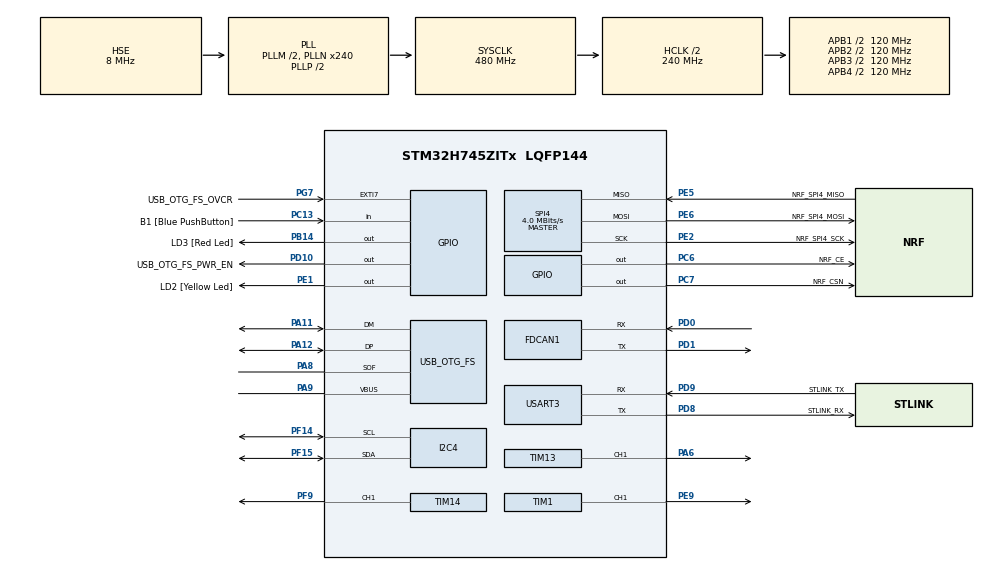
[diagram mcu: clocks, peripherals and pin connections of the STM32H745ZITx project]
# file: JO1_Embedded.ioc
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CortexM4.IPs=FATFS_M4\:I,FREERTOS_M4\:I,IWDG2\:I,RCC,WWDG2\:I,DMA,BDMA,MDMA,NVIC2\:I,USART3,DEBUG,USB_DEVICE_M4\:I,USB_HOST_M4\:I,PDM2PCM_M4\:I,PWR,RESMGR_UTILITY,SYS_M4\:I,CORTEX_M4\:I,OPENAMP_M4\:I,VREFBUF,GPIO,TIM3\:I
CortexM7.IPs=FATFS_M7\:I,FREERTOS_M7\:I,IWDG1\:I,RCC\:I,WWDG1\:I,DMA\:I,BDMA\:I,MDMA\:I,NVIC1\:I,SYS\:I,USART3\:I,USB_OTG_FS\:I,CORTEX_M7\:I,DEBUG\:I,USB_DEVICE_M7\:I,USB_HOST_M7\:I,PDM2PCM_M7\:I,PWR\:I,RESMGR_UTILITY\:I,OPENAMP_M7\:I,VREFBUF\:I,GPIO\:I,SPI4\:I,I2C4\:I,TIM13\:I,TIM14\:I,TIM1\:I,TIM2\:I,FDCAN1\:I
CortexM7.Pins=PC6,PC7
FDCAN1.CalculateBaudRateNominal=500000
FDCAN1.CalculateTimeBitNominal=2000
FDCAN1.CalculateTimeQuantumNominal=50.0
FDCAN1.NominalPrescaler=2
FDCAN1.NominalSyncJumpWidth=8
FDCAN1.NominalTimeSeg1=0x1F
FDCAN1.NominalTimeSeg2=8
FDCAN1.ProtocolException=ENABLE
FDCAN1.RxFifo0ElmtsNbr=1
FDCAN1.StdFiltersNbr=1
FDCAN1.TxFifoQueueElmtsNbr=1
FREERTOS_M4.Tasks01=defaultTask,24,128,StartDefaultTask,Default,NULL,Dynamic,NULL,NULL
FREERTOS_M4.configUSE_NEWLIB_REENTRANT=1
FREERTOS_M7.Tasks01=defaultTask,24,128,StartDefaultTask,Default,NULL,Dynamic,NULL,NULL
FREERTOS_M7.configUSE_NEWLIB_REENTRANT=1
I2C4.Timing=0x307075B1
Mcu.Family=STM32H7
Mcu.Name=STM32H745ZITx
Mcu.Package=LQFP144
NVIC1.PriorityGroup=NVIC_PRIORITYGROUP_4
NVIC1.TIM2_IRQn=true\:15\:0\:false\:false\:true\:false\:false\:true\:true
NVIC1.TimeBase=TIM2_IRQn
NVIC1.TimeBaseIP=TIM2
NVIC2.PriorityGroup=NVIC_PRIORITYGROUP_4
NVIC2.TIM3_IRQn=true\:15\:0\:false\:false\:true\:false\:false\:true\:true
NVIC2.TimeBase=TIM3_IRQn
NVIC2.TimeBaseIP=TIM3
PA11.Mode=Device_Only
PA11.PinAttribute=CortexM7
PA11.Signal=USB_OTG_FS_DM
PA12.Mode=Device_Only
PA12.PinAttribute=CortexM7
PA12.Signal=USB_OTG_FS_DP
PA6.PinAttribute=CortexM7
PA6.Signal=S_TIM13_CH1
PA8.Mode=Activate_SOF_FS
PA8.PinAttribute=CortexM7
PA8.Signal=USB_OTG_FS_SOF
PA9.Mode=Activate_VBUS
PA9.PinAttribute=CortexM7
PA9.Signal=USB_OTG_FS_VBUS
PB14.GPIO_Label=LD3 [Red Led]
PB14.PinAttribute=Free
PB14.Signal=GPIO_Output
PC13.GPIO_Label=B1 [Blue PushButton]
PC13.PinAttribute=Free
PC13.Signal=GPIO_Input
PC14-OSC32_IN\ (OSC32_IN).Mode=LSE-External-Oscillator
PC14-OSC32_IN\ (OSC32_IN).PinAttribute=CortexM7
PC14-OSC32_IN\ (OSC32_IN).Signal=RCC_OSC32_IN
PC15-OSC32_OUT\ (OSC32_OUT).Mode=LSE-External-Oscillator
PC15-OSC32_OUT\ (OSC32_OUT).PinAttribute=CortexM7
PC15-OSC32_OUT\ (OSC32_OUT).Signal=RCC_OSC32_OUT
PC6.GPIO_Label=NRF_CE
PC6.PinAttribute=CortexM7
PC6.Signal=GPIO_Output
PC7.GPIO_Label=NRF_CSN
PC7.PinAttribute=CortexM7
PC7.Signal=GPIO_Output
PD0.GPIO_Speed=GPIO_SPEED_FREQ_VERY_HIGH
PD0.Mode=FDCAN_Activate
PD0.PinAttribute=CortexM7
PD0.Signal=FDCAN1_RX
PD1.GPIO_PuPd=GPIO_PULLUP
PD1.GPIO_Speed=GPIO_SPEED_FREQ_VERY_HIGH
PD1.Mode=FDCAN_Activate
PD1.PinAttribute=CortexM7
PD1.Signal=FDCAN1_TX
PD10.GPIO_Label=USB_OTG_FS_PWR_EN
PD10.PinAttribute=Free
PD10.Signal=GPIO_Output
PD8.GPIO_Label=STLINK_RX
PD8.Mode=Asynchronous
PD8.PinAttribute=CortexM7
PD8.Signal=USART3_TX
PD9.GPIO_Label=STLINK_TX
PD9.Mode=Asynchronous
PD9.PinAttribute=CortexM7
PD9.Signal=USART3_RX
PE1.GPIO_Label=LD2 [Yellow Led]
PE1.PinAttribute=Free
PE1.Signal=GPIO_Output
PE2.GPIO_Label=NRF_SPI4_SCK
PE2.Mode=Full_Duplex_Master
PE2.PinAttribute=CortexM7
PE2.Signal=SPI4_SCK
PE5.GPIO_Label=NRF_SPI4_MISO
PE5.Mode=Full_Duplex_Master
PE5.PinAttribute=CortexM7
PE5.Signal=SPI4_MISO
PE6.GPIO_Label=NRF_SPI4_MOSI
PE6.Mode=Full_Duplex_Master
PE6.PinAttribute=CortexM7
PE6.Signal=SPI4_MOSI
PE9.PinAttribute=CortexM7
PE9.Signal=S_TIM1_CH1
PF14.Mode=I2C
PF14.PinAttribute=CortexM7
PF14.Signal=I2C4_SCL
PF15.Mode=I2C
PF15.PinAttribute=CortexM7
PF15.Signal=I2C4_SDA
PF9.PinAttribute=CortexM7
PF9.Signal=S_TIM14_CH1
PG7.GPIO_Label=USB_OTG_FS_OVCR
PG7.PinAttribute=Free
PG7.Signal=GPXTI7
PH0-OSC_IN\ (PH0).Mode=HSE-External-Clock-Source
PH0-OSC_IN\ (PH0).PinAttribute=CortexM7
PH0-OSC_IN\ (PH0).Signal=RCC_OSC_IN
PH1-OSC_OUT\ (PH1).PinAttribute=CortexM7
PH1-OSC_OUT\ (PH1).Signal=RCC_OSC_OUT
ProjectManager.HeapSize=M4-0x200,M7-0x200
ProjectManager.StackSize=M4-0x400,M7-0x400
ProjectManager.TargetToolchain=STM32CubeIDE
RCC.ADCFreq_Value=9000000
RCC.APB1Freq_Value=120000000
RCC.APB2Freq_Value=120000000
RCC.APB3Freq_Value=120000000
RCC.APB4Freq_Value=120000000
RCC.CortexFreq_Value=480000000
RCC.D1PPRE=RCC_APB3_DIV2
RCC.D2PPRE1=RCC_APB1_DIV2
RCC.D2PPRE2=RCC_APB2_DIV2
RCC.D3PPRE=RCC_APB4_DIV2
RCC.DIVM1=2
RCC.DIVM2=4
RCC.DIVN1=240
RCC.DIVN2=9
RCC.DIVQ1=24
RCC.HCLKFreq_Value=240000000
RCC.HPRE=RCC_HCLK_DIV2
RCC.HSE_VALUE=8000000
RCC.PLL2FRACN=0
RCC.PLL3FRACN=0
RCC.PLLFRACN=0
RCC.SYSCLKFreq_VALUE=480000000
RCC.SYSCLKSource=RCC_SYSCLKSOURCE_PLLCLK
RCC.Spi45ClockSelection=RCC_SPI45CLKSOURCE_HSI
RCC.SupplySource=PWR_DIRECT_SMPS_SUPPLY
RCC.USBFreq_Value=40000000
SH.S_TIM13_CH1.0=TIM13_CH1,PWM Generation1 CH1
SH.S_TIM14_CH1.0=TIM14_CH1,PWM Generation1 CH1
SH.S_TIM1_CH1.0=TIM1_CH1,PWM Generation1 CH1
SPI4.BaudRatePrescaler=SPI_BAUDRATEPRESCALER_16
SPI4.CalculateBaudRate=4.0 MBits/s
SPI4.DataSize=SPI_DATASIZE_8BIT
SPI4.Direction=SPI_DIRECTION_2LINES
SPI4.Mode=SPI_MODE_MASTER
SPI4.VirtualType=VM_MASTER
TIM1.Channel-PWM\ Generation1\ CH1=TIM_CHANNEL_1
TIM1.Period=1000
TIM1.Pulse-PWM\ Generation1\ CH1=500
TIM13.Channel=TIM_CHANNEL_1
TIM13.Period=63999
TIM13.Prescaler=75
TIM14.Channel=TIM_CHANNEL_1
TIM14.Period=63999
TIM14.Prescaler=75
USART3.VirtualMode-Asynchronous=VM_ASYNC
USB_OTG_FS.VirtualMode=Device_Only
VP_FREERTOS_M4_VS_CMSIS_V2.Mode=CMSIS_V2
VP_FREERTOS_M7_VS_CMSIS_V2.Mode=CMSIS_V2
VP_SYS_M4_VS_tim3.Mode=TIM3
VP_SYS_VS_tim2.Mode=TIM2
VP_TIM13_VS_ClockSourceINT.Mode=Enable_Timer
VP_TIM14_VS_ClockSourceINT.Mode=Enable_Timer
VP_TIM1_VS_ClockSourceINT.Mode=Internal
board=NUCLEO-H745ZI-Q

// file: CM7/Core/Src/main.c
/* USER CODE BEGIN Header */
/**
  ******************************************************************************
  * @file           : main.c
  * @brief          : Main program body
  ******************************************************************************
  * @attention
  *
  * Copyright (c) 2024 STMicroelectronics.
  * All rights reserved.
  *
  * This software is licensed under terms that can be found in the LICENSE file
  * in the root directory of this software component.
  * If no LICENSE file comes with this software, it is provided AS-IS.
  *
  ******************************************************************************
  */
/* USER CODE END Header */
#include "main.h"
#include "cmsis_os.h"

/* USER CODE BEGIN Includes */

// UART interface

#include "printf.h"

// Wireless communication with John Deere GPS

#include "nRF24.h"

// IMU sensor for angle calculation

#include "imu.h"
#include "AngleCalculation.h"
#include "complementaryFilter.h"

// CAN for reading encoder from extern MCU

#include "CANRoutines.h"

// Encoder reading for distance calculation

#include "encoder.h"

// Tractor steering and movement

#include "servo.h"
#include "motor.h"

// P Controller

#include "PController.h"

// Matlab Controller

#include "controller/robocar_c.h"

// Coordinate Fusion System

#include "fusion.h"
#include "kalman_pos.h"

// Buzzer for waypoint alert

#include "jingle.h"

/* USER CODE END Includes */

/* USER CODE BEGIN PD */

#ifndef HSEM_ID_0
#define HSEM_ID_0 (0U) /* HW semaphore 0*/
#endif
/* USER CODE END PD */

FDCAN_HandleTypeDef hfdcan1;

I2C_HandleTypeDef hi2c4;

SPI_HandleTypeDef hspi4;

TIM_HandleTypeDef htim1;
TIM_HandleTypeDef htim13;
TIM_HandleTypeDef htim14;

UART_HandleTypeDef huart3;

PCD_HandleTypeDef hpcd_USB_OTG_FS;

/* Definitions for defaultTask */
osThreadId_t defaultTaskHandle;
const osThreadAttr_t defaultTask_attributes = {
  .name = "defaultTask",
  .stack_size = 128 * 16,
  .priority = (osPriority_t) osPriorityNormal,
};
/* USER CODE BEGIN PV */

uint32_t currentTime;
float IMU_angle;
float filtered_angle;

uint16_t encoder_data;
float encoder_distance;

float filtered_distance;

typedef struct {
    uint16_t x;
    uint16_t y;
} Waypoint;

Waypoint waypoints[] =
{
    {0, 195},
    {100, 100},
	{50, 50}
};

size_t waypoint_count = sizeof(waypoints) / sizeof(waypoints[0]);

uint8_t actual_waypoint;

FDCAN_FilterTypeDef sFilterConfig;
FDCAN_RxHeaderTypeDef RxHeader;

/* USER CODE END PV */

void SystemClock_Config(void);
static void MX_GPIO_Init(void);
static void MX_USART3_UART_Init(void);
static void MX_USB_OTG_FS_PCD_Init(void);
static void MX_SPI4_Init(void);
static void MX_I2C4_Init(void);
static void MX_TIM13_Init(void);
static void MX_TIM14_Init(void);
static void MX_TIM1_Init(void);
static void MX_FDCAN1_Init(void);
void StartDefaultTask(void *argument);

int main(void)
{
/* USER CODE BEGIN Boot_Mode_Sequence_0 */
  int32_t timeout;
/* USER CODE END Boot_Mode_Sequence_0 */

/* USER CODE BEGIN Boot_Mode_Sequence_1 */
  /* Wait until CPU2 boots and enters in stop mode or timeout*/
  timeout = 0xFFFF;
  while((__HAL_RCC_GET_FLAG(RCC_FLAG_D2CKRDY) != RESET) && (timeout-- > 0));
  if ( timeout < 0 )
  {
  Error_Handler();
  }
/* USER CODE END Boot_Mode_Sequence_1 */
  /* MCU Configuration--------------------------------------------------------*/

  /* Reset of all peripherals, Initializes the Flash interface and the Systick. */
  HAL_Init();

  /* Configure the system clock */
  SystemClock_Config();
/* USER CODE BEGIN Boot_Mode_Sequence_2 */
/* When system initialization is finished, Cortex-M7 will release Cortex-M4 by means of
HSEM notification */
/*HW semaphore Clock enable*/
__HAL_RCC_HSEM_CLK_ENABLE();
/*Take HSEM */
HAL_HSEM_FastTake(HSEM_ID_0);
/*Release HSEM in order to notify the CPU2(CM4)*/
HAL_HSEM_Release(HSEM_ID_0,0);
/* wait until CPU2 wakes up from stop mode */
timeout = 0xFFFF;
while((__HAL_RCC_GET_FLAG(RCC_FLAG_D2CKRDY) == RESET) && (timeout-- > 0));
if ( timeout < 0 )
{
Error_Handler();
}
/* USER CODE END Boot_Mode_Sequence_2 */

  /* Initialize all configured peripherals */
  MX_GPIO_Init();
  MX_USART3_UART_Init();
  MX_USB_OTG_FS_PCD_Init();
  MX_SPI4_Init();
  MX_I2C4_Init();
  MX_TIM13_Init();
  MX_TIM14_Init();
  MX_TIM1_Init();
  MX_FDCAN1_Init();
  /* USER CODE BEGIN 2 */

  NRF24_SetupRoutine(&hspi4, &huart3);
  IMU_SetupRoutine(&hi2c4);

  /* USER CODE END 2 */

  /* Init scheduler */
  osKernelInitialize();

  /* Create the thread(s) */
  /* creation of defaultTask */
  defaultTaskHandle = osThreadNew(StartDefaultTask, NULL, &defaultTask_attributes);

  /* Start scheduler */
  osKernelStart();

  /* We should never get here as control is now taken by the scheduler */
  /* Infinite loop */
  while (1)
  {

  }
}

void SystemClock_Config(void)
{
  RCC_OscInitTypeDef RCC_OscInitStruct = {0};
  RCC_ClkInitTypeDef RCC_ClkInitStruct = {0};

  /** Supply configuration update enable
  */
  HAL_PWREx_ConfigSupply(PWR_DIRECT_SMPS_SUPPLY);

  /** Configure the main internal regulator output voltage
  */
  __HAL_PWR_VOLTAGESCALING_CONFIG(PWR_REGULATOR_VOLTAGE_SCALE0);

  while(!__HAL_PWR_GET_FLAG(PWR_FLAG_VOSRDY)) {}

  /** Initializes the RCC Oscillators according to the specified parameters
  * in the RCC_OscInitTypeDef structure.
  */
  RCC_OscInitStruct.OscillatorType = RCC_OSCILLATORTYPE_HSI|RCC_OSCILLATORTYPE_HSE;
  RCC_OscInitStruct.HSEState = RCC_HSE_BYPASS;
  RCC_OscInitStruct.HSIState = RCC_HSI_DIV1;
  RCC_OscInitStruct.HSICalibrationValue = RCC_HSICALIBRATION_DEFAULT;
  RCC_OscInitStruct.PLL.PLLState = RCC_PLL_ON;
  RCC_OscInitStruct.PLL.PLLSource = RCC_PLLSOURCE_HSE;
  RCC_OscInitStruct.PLL.PLLM = 2;
  RCC_OscInitStruct.PLL.PLLN = 240;
  RCC_OscInitStruct.PLL.PLLP = 2;
  RCC_OscInitStruct.PLL.PLLQ = 24;
  RCC_OscInitStruct.PLL.PLLR = 2;
  RCC_OscInitStruct.PLL.PLLRGE = RCC_PLL1VCIRANGE_2;
  RCC_OscInitStruct.PLL.PLLVCOSEL = RCC_PLL1VCOWIDE;
  RCC_OscInitStruct.PLL.PLLFRACN = 0;
  if (HAL_RCC_OscConfig(&RCC_OscInitStruct) != HAL_OK)
  {
    Error_Handler();
  }

  /** Initializes the CPU, AHB and APB buses clocks
  */
  RCC_ClkInitStruct.ClockType = RCC_CLOCKTYPE_HCLK|RCC_CLOCKTYPE_SYSCLK
                              |RCC_CLOCKTYPE_PCLK1|RCC_CLOCKTYPE_PCLK2
                              |RCC_CLOCKTYPE_D3PCLK1|RCC_CLOCKTYPE_D1PCLK1;
  RCC_ClkInitStruct.SYSCLKSource = RCC_SYSCLKSOURCE_PLLCLK;
  RCC_ClkInitStruct.SYSCLKDivider = RCC_SYSCLK_DIV1;
  RCC_ClkInitStruct.AHBCLKDivider = RCC_HCLK_DIV2;
  RCC_ClkInitStruct.APB3CLKDivider = RCC_APB3_DIV2;
  RCC_ClkInitStruct.APB1CLKDivider = RCC_APB1_DIV2;
  RCC_ClkInitStruct.APB2CLKDivider = RCC_APB2_DIV2;
  RCC_ClkInitStruct.APB4CLKDivider = RCC_APB4_DIV2;

  if (HAL_RCC_ClockConfig(&RCC_ClkInitStruct, FLASH_LATENCY_4) != HAL_OK)
  {
    Error_Handler();
  }
}

static void MX_FDCAN1_Init(void)
{

  hfdcan1.Instance = FDCAN1;
  hfdcan1.Init.FrameFormat = FDCAN_FRAME_CLASSIC;
  hfdcan1.Init.Mode = FDCAN_MODE_NORMAL;
  hfdcan1.Init.AutoRetransmission = DISABLE;
  hfdcan1.Init.TransmitPause = DISABLE;
  hfdcan1.Init.ProtocolException = ENABLE;
  hfdcan1.Init.NominalPrescaler = 2;
  hfdcan1.Init.NominalSyncJumpWidth = 8;
  hfdcan1.Init.NominalTimeSeg1 = 0x1F;
  hfdcan1.Init.NominalTimeSeg2 = 8;
  hfdcan1.Init.DataPrescaler = 1;
  hfdcan1.Init.DataSyncJumpWidth = 1;
  hfdcan1.Init.DataTimeSeg1 = 1;
  hfdcan1.Init.DataTimeSeg2 = 1;
  hfdcan1.Init.MessageRAMOffset = 0;
  hfdcan1.Init.StdFiltersNbr = 1;
  hfdcan1.Init.ExtFiltersNbr = 0;
  hfdcan1.Init.RxFifo0ElmtsNbr = 1;
  hfdcan1.Init.RxFifo0ElmtSize = FDCAN_DATA_BYTES_8;
  hfdcan1.Init.RxFifo1ElmtsNbr = 0;
  hfdcan1.Init.RxFifo1ElmtSize = FDCAN_DATA_BYTES_8;
  hfdcan1.Init.RxBuffersNbr = 0;
  hfdcan1.Init.RxBufferSize = FDCAN_DATA_BYTES_8;
  hfdcan1.Init.TxEventsNbr = 0;
  hfdcan1.Init.TxBuffersNbr = 0;
  hfdcan1.Init.TxFifoQueueElmtsNbr = 1;
  hfdcan1.Init.TxFifoQueueMode = FDCAN_TX_FIFO_OPERATION;
  hfdcan1.Init.TxElmtSize = FDCAN_DATA_BYTES_8;
  if (HAL_FDCAN_Init(&hfdcan1) != HAL_OK)
  {
    Error_Handler();
  }
  /* USER CODE BEGIN FDCAN1_Init 2 */

  // Configure Rx filter

  sFilterConfig.IdType = FDCAN_STANDARD_ID;
  sFilterConfig.FilterIndex = 0;
  sFilterConfig.FilterType = FDCAN_FILTER_MASK;
  sFilterConfig.FilterConfig = FDCAN_FILTER_TO_RXFIFO0;
  sFilterConfig.FilterID1 = 0x000;
  sFilterConfig.FilterID2 = 0x000;

  // Configure global filter to reject all non-matching frames

  HAL_FDCAN_ConfigGlobalFilter(&hfdcan1, FDCAN_REJECT, FDCAN_REJECT, FDCAN_REJECT_REMOTE, FDCAN_REJECT_REMOTE);

  if (HAL_FDCAN_ConfigFilter(&hfdcan1, &sFilterConfig) != HAL_OK)
  {
	  Error_Handler();
  }

  // Start the FDCAN

  if (HAL_FDCAN_Start(&hfdcan1) != HAL_OK) {}

  if (HAL_FDCAN_ActivateNotification(&hfdcan1, FDCAN_IT_RX_FIFO0_NEW_MESSAGE, 0) != HAL_OK) {}

  printf("CAN BUS ACTIVATED\r\n");

  /* USER CODE END FDCAN1_Init 2 */

}

static void MX_I2C4_Init(void)
{

  hi2c4.Instance = I2C4;
  hi2c4.Init.Timing = 0x307075B1;
  hi2c4.Init.OwnAddress1 = 0;
  hi2c4.Init.AddressingMode = I2C_ADDRESSINGMODE_7BIT;
  hi2c4.Init.DualAddressMode = I2C_DUALADDRESS_DISABLE;
  hi2c4.Init.OwnAddress2 = 0;
  hi2c4.Init.OwnAddress2Masks = I2C_OA2_NOMASK;
  hi2c4.Init.GeneralCallMode = I2C_GENERALCALL_DISABLE;
  hi2c4.Init.NoStretchMode = I2C_NOSTRETCH_DISABLE;
  if (HAL_I2C_Init(&hi2c4) != HAL_OK)
  {
    Error_Handler();
  }

  /** Configure Analogue filter
  */
  if (HAL_I2CEx_ConfigAnalogFilter(&hi2c4, I2C_ANALOGFILTER_ENABLE) != HAL_OK)
  {
    Error_Handler();
  }

  /** Configure Digital filter
  */
  if (HAL_I2CEx_ConfigDigitalFilter(&hi2c4, 0) != HAL_OK)
  {
    Error_Handler();
  }

}

static void MX_SPI4_Init(void)
{

  /* SPI4 parameter configuration*/
  hspi4.Instance = SPI4;
  hspi4.Init.Mode = SPI_MODE_MASTER;
  hspi4.Init.Direction = SPI_DIRECTION_2LINES;
  hspi4.Init.DataSize = SPI_DATASIZE_8BIT;
  hspi4.Init.CLKPolarity = SPI_POLARITY_LOW;
  hspi4.Init.CLKPhase = SPI_PHASE_1EDGE;
  hspi4.Init.NSS = SPI_NSS_SOFT;
  hspi4.Init.BaudRatePrescaler = SPI_BAUDRATEPRESCALER_16;
  hspi4.Init.FirstBit = SPI_FIRSTBIT_MSB;
  hspi4.Init.TIMode = SPI_TIMODE_DISABLE;
  hspi4.Init.CRCCalculation = SPI_CRCCALCULATION_DISABLE;
  hspi4.Init.CRCPolynomial = 0x0;
  hspi4.Init.NSSPMode = SPI_NSS_PULSE_ENABLE;
  hspi4.Init.NSSPolarity = SPI_NSS_POLARITY_LOW;
  hspi4.Init.FifoThreshold = SPI_FIFO_THRESHOLD_01DATA;
  hspi4.Init.TxCRCInitializationPattern = SPI_CRC_INITIALIZATION_ALL_ZERO_PATTERN;
  hspi4.Init.RxCRCInitializationPattern = SPI_CRC_INITIALIZATION_ALL_ZERO_PATTERN;
  hspi4.Init.MasterSSIdleness = SPI_MASTER_SS_IDLENESS_00CYCLE;
  hspi4.Init.MasterInterDataIdleness = SPI_MASTER_INTERDATA_IDLENESS_00CYCLE;
  hspi4.Init.MasterReceiverAutoSusp = SPI_MASTER_RX_AUTOSUSP_DISABLE;
  hspi4.Init.MasterKeepIOState = SPI_MASTER_KEEP_IO_STATE_DISABLE;
  hspi4.Init.IOSwap = SPI_IO_SWAP_DISABLE;
  if (HAL_SPI_Init(&hspi4) != HAL_OK)
  {
    Error_Handler();
  }

}

static void MX_TIM1_Init(void)
{

  TIM_ClockConfigTypeDef sClockSourceConfig = {0};
  TIM_MasterConfigTypeDef sMasterConfig = {0};
  TIM_OC_InitTypeDef sConfigOC = {0};
  TIM_BreakDeadTimeConfigTypeDef sBreakDeadTimeConfig = {0};

  htim1.Instance = TIM1;
  htim1.Init.Prescaler = 0;
  htim1.Init.CounterMode = TIM_COUNTERMODE_UP;
  htim1.Init.Period = 1000;
  htim1.Init.ClockDivision = TIM_CLOCKDIVISION_DIV1;
  htim1.Init.RepetitionCounter = 0;
  htim1.Init.AutoReloadPreload = TIM_AUTORELOAD_PRELOAD_DISABLE;
  if (HAL_TIM_Base_Init(&htim1) != HAL_OK)
  {
    Error_Handler();
  }
  sClockSourceConfig.ClockSource = TIM_CLOCKSOURCE_INTERNAL;
  if (HAL_TIM_ConfigClockSource(&htim1, &sClockSourceConfig) != HAL_OK)
  {
    Error_Handler();
  }
  if (HAL_TIM_PWM_Init(&htim1) != HAL_OK)
  {
    Error_Handler();
  }
  sMasterConfig.MasterOutputTrigger = TIM_TRGO_RESET;
  sMasterConfig.MasterOutputTrigger2 = TIM_TRGO2_RESET;
  sMasterConfig.MasterSlaveMode = TIM_MASTERSLAVEMODE_DISABLE;
  if (HAL_TIMEx_MasterConfigSynchronization(&htim1, &sMasterConfig) != HAL_OK)
  {
    Error_Handler();
  }
  sConfigOC.OCMode = TIM_OCMODE_PWM1;
  sConfigOC.Pulse = 500;
  sConfigOC.OCPolarity = TIM_OCPOLARITY_HIGH;
  sConfigOC.OCNPolarity = TIM_OCNPOLARITY_HIGH;
  sConfigOC.OCFastMode = TIM_OCFAST_DISABLE;
  sConfigOC.OCIdleState = TIM_OCIDLESTATE_RESET;
  sConfigOC.OCNIdleState = TIM_OCNIDLESTATE_RESET;
  if (HAL_TIM_PWM_ConfigChannel(&htim1, &sConfigOC, TIM_CHANNEL_1) != HAL_OK)
  {
    Error_Handler();
  }
  sBreakDeadTimeConfig.OffStateRunMode = TIM_OSSR_DISABLE;
  sBreakDeadTimeConfig.OffStateIDLEMode = TIM_OSSI_DISABLE;
  sBreakDeadTimeConfig.LockLevel = TIM_LOCKLEVEL_OFF;
  sBreakDeadTimeConfig.DeadTime = 0;
  sBreakDeadTimeConfig.BreakState = TIM_BREAK_DISABLE;
  sBreakDeadTimeConfig.BreakPolarity = TIM_BREAKPOLARITY_HIGH;
  sBreakDeadTimeConfig.BreakFilter = 0;
  sBreakDeadTimeConfig.Break2State = TIM_BREAK2_DISABLE;
  sBreakDeadTimeConfig.Break2Polarity = TIM_BREAK2POLARITY_HIGH;
  sBreakDeadTimeConfig.Break2Filter = 0;
  sBreakDeadTimeConfig.AutomaticOutput = TIM_AUTOMATICOUTPUT_DISABLE;
  if (HAL_TIMEx_ConfigBreakDeadTime(&htim1, &sBreakDeadTimeConfig) != HAL_OK)
  {
    Error_Handler();
  }
  HAL_TIM_MspPostInit(&htim1);

}

static void MX_TIM13_Init(void)
{

  TIM_OC_InitTypeDef sConfigOC = {0};

  htim13.Instance = TIM13;
  htim13.Init.Prescaler = 75;
  htim13.Init.CounterMode = TIM_COUNTERMODE_UP;
  htim13.Init.Period = 63999;
  htim13.Init.ClockDivision = TIM_CLOCKDIVISION_DIV1;
  htim13.Init.AutoReloadPreload = TIM_AUTORELOAD_PRELOAD_DISABLE;
  if (HAL_TIM_Base_Init(&htim13) != HAL_OK)
  {
    Error_Handler();
  }
  if (HAL_TIM_PWM_Init(&htim13) != HAL_OK)
  {
    Error_Handler();
  }
  sConfigOC.OCMode = TIM_OCMODE_PWM1;
  sConfigOC.Pulse = 0;
  sConfigOC.OCPolarity = TIM_OCPOLARITY_HIGH;
  sConfigOC.OCFastMode = TIM_OCFAST_DISABLE;
  if (HAL_TIM_PWM_ConfigChannel(&htim13, &sConfigOC, TIM_CHANNEL_1) != HAL_OK)
  {
    Error_Handler();
  }
  HAL_TIM_MspPostInit(&htim13);

}

static void MX_TIM14_Init(void)
{

  TIM_OC_InitTypeDef sConfigOC = {0};

  htim14.Instance = TIM14;
  htim14.Init.Prescaler = 75;
  htim14.Init.CounterMode = TIM_COUNTERMODE_UP;
  htim14.Init.Period = 63999;
  htim14.Init.ClockDivision = TIM_CLOCKDIVISION_DIV1;
  htim14.Init.AutoReloadPreload = TIM_AUTORELOAD_PRELOAD_DISABLE;
  if (HAL_TIM_Base_Init(&htim14) != HAL_OK)
  {
    Error_Handler();
  }
  if (HAL_TIM_PWM_Init(&htim14) != HAL_OK)
  {
    Error_Handler();
  }
  sConfigOC.OCMode = TIM_OCMODE_PWM1;
  sConfigOC.Pulse = 0;
  sConfigOC.OCPolarity = TIM_OCPOLARITY_HIGH;
  sConfigOC.OCFastMode = TIM_OCFAST_DISABLE;
  if (HAL_TIM_PWM_ConfigChannel(&htim14, &sConfigOC, TIM_CHANNEL_1) != HAL_OK)
  {
    Error_Handler();
  }
  HAL_TIM_MspPostInit(&htim14);

}

static void MX_USART3_UART_Init(void)
{

  huart3.Instance = USART3;
  huart3.Init.BaudRate = 115200;
  huart3.Init.WordLength = UART_WORDLENGTH_8B;
  huart3.Init.StopBits = UART_STOPBITS_1;
  huart3.Init.Parity = UART_PARITY_NONE;
  huart3.Init.Mode = UART_MODE_TX_RX;
  huart3.Init.HwFlowCtl = UART_HWCONTROL_NONE;
  huart3.Init.OverSampling = UART_OVERSAMPLING_16;
  huart3.Init.OneBitSampling = UART_ONE_BIT_SAMPLE_DISABLE;
  huart3.Init.ClockPrescaler = UART_PRESCALER_DIV1;
  huart3.AdvancedInit.AdvFeatureInit = UART_ADVFEATURE_NO_INIT;
  if (HAL_UART_Init(&huart3) != HAL_OK)
  {
    Error_Handler();
  }
  if (HAL_UARTEx_SetTxFifoThreshold(&huart3, UART_TXFIFO_THRESHOLD_1_8) != HAL_OK)
  {
    Error_Handler();
  }
  if (HAL_UARTEx_SetRxFifoThreshold(&huart3, UART_RXFIFO_THRESHOLD_1_8) != HAL_OK)
  {
    Error_Handler();
  }
  if (HAL_UARTEx_DisableFifoMode(&huart3) != HAL_OK)
  {
    Error_Handler();
  }

}

static void MX_USB_OTG_FS_PCD_Init(void)
{

  hpcd_USB_OTG_FS.Instance = USB_OTG_FS;
  hpcd_USB_OTG_FS.Init.dev_endpoints = 9;
  hpcd_USB_OTG_FS.Init.speed = PCD_SPEED_FULL;
  hpcd_USB_OTG_FS.Init.dma_enable = DISABLE;
  hpcd_USB_OTG_FS.Init.phy_itface = PCD_PHY_EMBEDDED;
  hpcd_USB_OTG_FS.Init.Sof_enable = DISABLE;
  hpcd_USB_OTG_FS.Init.low_power_enable = DISABLE;
  hpcd_USB_OTG_FS.Init.lpm_enable = DISABLE;
  hpcd_USB_OTG_FS.Init.battery_charging_enable = ENABLE;
  hpcd_USB_OTG_FS.Init.vbus_sensing_enable = ENABLE;
  hpcd_USB_OTG_FS.Init.use_dedicated_ep1 = DISABLE;
  if (HAL_PCD_Init(&hpcd_USB_OTG_FS) != HAL_OK)
  {
    Error_Handler();
  }

}

static void MX_GPIO_Init(void)
{
  GPIO_InitTypeDef GPIO_InitStruct = {0};

  /* GPIO Ports Clock Enable */
  __HAL_RCC_GPIOE_CLK_ENABLE();
  __HAL_RCC_GPIOC_CLK_ENABLE();
  __HAL_RCC_GPIOF_CLK_ENABLE();
  __HAL_RCC_GPIOH_CLK_ENABLE();
  __HAL_RCC_GPIOA_CLK_ENABLE();
  __HAL_RCC_GPIOD_CLK_ENABLE();

  /*Configure GPIO pin Output Level */
  HAL_GPIO_WritePin(GPIOC, NRF_CE_Pin|NRF_CSN_Pin, GPIO_PIN_RESET);

  /*Configure GPIO pins : NRF_CE_Pin NRF_CSN_Pin */
  GPIO_InitStruct.Pin = NRF_CE_Pin|NRF_CSN_Pin;
  GPIO_InitStruct.Mode = GPIO_MODE_OUTPUT_PP;
  GPIO_InitStruct.Pull = GPIO_NOPULL;
  GPIO_InitStruct.Speed = GPIO_SPEED_FREQ_LOW;
  HAL_GPIO_Init(GPIOC, &GPIO_InitStruct);

}

void StartDefaultTask(void *argument)
{
  /* USER CODE BEGIN 5 */
  /* Infinite loop */

  real_T state[3];
  Coordinates tmp_coords;
  Coordinates prev_nrf_coords;
  FusedCoordinate fused_coords;
  SensorData IMU_Data;

  actual_waypoint = 0;

  // correction parameters
  float correction_factor = 0.3;
  CorrectionParameters drift_correction;
  FusedCoordinate predicted_coordinates;

  // wait until we get the first coordinates to start
//  while(tmp_coords.x == 0 || tmp_coords.y == 0)
//  {
//       tmp_coords = NRF24_ReadJohnDeereSystem();
//    prev_nrf_coords = tmp_coords;
//  }

  // printf("got first coords %d %d\n\r", tmp_coords.x, tmp_coords.y);

  float tops=0.7;

  // set desired linear velocity
  rtU.Input1 = 0.7;

  // set desired lookahead distance
  rtU.Input2 = 1.0;

  bool stay = false;

	  if (stay == false) {
		  for (float i=0; i<tops; i+=0.1) {
			  SetMotorSpeed(i);
			  printf("vel: %f\n\r", i);
			  osDelay(50);
		  }
		  stay = true;
	  } else {
		  SetMotorSpeed(tops);
		  printf("vel: %f\n\r", tops);
	  }

  	  robocar_c_initialize();

      float input_min = -1;
      float input_max = 1;
      float output_min = -90;
      float output_max = 90;

  	  for (;;) {

        robocar_c_step();

        float mapped_angle = (rtY.Out2 - input_min) * (output_max - output_min) / (input_max - input_min) + output_min;

        Turning_SetAngle(mapped_angle);

        // Read IMU data
        IMU_Data = MPU_ReadProcessedData(&hi2c4);
        currentTime = HAL_GetTick();
        IMU_angle = updateRotationAngle(IMU_Data, currentTime);

        // Fuse angle measurements if within threshold
        // if (fabsf((float)tmp_coords.angle - IMU_angle) < 30) {
        //   filtered_angle = fuseMeasurements(IMU_angle, tmp_coords.angle);
        // }

        // Distance traversed with the encoder
        encoder_data = CAN_ReceiveEncoder(&RxHeader);
        encoder_distance = EncoderGetDistance(encoder_data);

        // // Read new camera coordinates
        // tmp_coords = NRF24_ReadJohnDeereSystem();

        // // Check if new camera coordinates are available
        // bool new_camera_data = (tmp_coords.x != 0 || tmp_coords.y != 0);
        // if (new_camera_data) {
        //   prev_nrf_coords = tmp_coords; // Update the previous camera coordinate
        // }

        // // Fuse sensor data, resetting reference only when new camera data is available
        // if (encoder_distance != 0) {
        //   predicted_coordinates = fuseSensorData(prev_nrf_coords, encoder_distance, filtered_angle, new_camera_data);
        // }

        // // Calculate drift correction and apply if new camera data is available
        // if (new_camera_data) {
        //   drift_correction = calculateDriftCorrection(predicted_coordinates, prev_nrf_coords);
        //   fused_coords = applyDriftCorrection(predicted_coordinates, drift_correction, correction_factor);
        // } else {
        //   fused_coords = predicted_coordinates;
        // }

        // camera mode
        // state[0] = prev_nrf_coords.x;
        // state[1] = prev_nrf_coords.y;
        // state[2] = prev_nrf_coords.angle;

        // imu & encoder mode
        state[0] = encoder_distance * cos(IMU_angle * (M_PI / 180.0) );
        state[1] = encoder_distance * sin(IMU_angle * (M_PI / 180.0) );
        state[2] = IMU_angle * (M_PI / 180.0);

//        if (state[1] > 17) {
//          SetMotorSpeed(0.0001);
//			    osDelay(50);
//        }

        rtU.Input[0] = state[0];
        rtU.Input[1] = state[1];
        rtU.Input[2] = state[2];

        // Print debug info
         printf("[%f, %f, %f]\n\r",
        	state[0],
			state[1],
			state[2]
         );

        osDelay(50);
    }
  /* USER CODE END 5 */
}

	// CONTROLLER 1

	// coords = NRF24_ReadJohnDeereSystem();

    // Only update if valid coordinates are received

    // if ((coords.x != 0 || coords.y != 0) && actual_waypoint < waypoint_count)
    // {
    // 	bool reached = OutPController_Update(coords);

    // 	OutPController_Debug(DEBUG_NORMAL);

    // 	if (reached)
    // 	{
    // 		playTone(melody, durations, pause, melody_size);

    // 		PControllers_Init();

    // 		actual_waypoint++;

		// 	while(coords.x == 0 || coords.y == 0)
		// 	{
		// 	  coords = NRF24_ReadJohnDeereSystem();
		// 	}

    // 		PControllers_SetWaypoint(waypoints[actual_waypoint].x, waypoints[actual_waypoint].y, coords);

    // 		break;
    // 	}
    // }

    // CONTROLLER 2

	//currentTime = HAL_GetTick();
	//IMU_Angle = updateRotationAngle(IMU_Data, currentTime);

	//Encoder_Data = CAN_ReceiveEncoder(&RxHeader);
	//Encoder_Distance = EncoderGetDistance(Encoder_Data);

	//filteredAngle = fuseMeasurements(IMU_Angle, coords.angle);

void HAL_TIM_PeriodElapsedCallback(TIM_HandleTypeDef *htim)
{
  if (htim->Instance == TIM2) {
    HAL_IncTick();
  }
}

void Error_Handler(void)
{
  __disable_irq();
  while (1)
  {
  }
}
